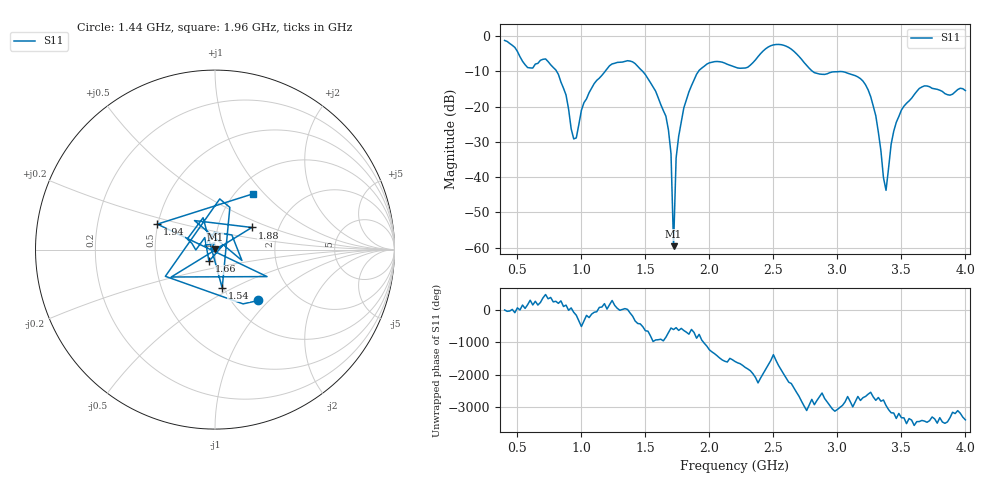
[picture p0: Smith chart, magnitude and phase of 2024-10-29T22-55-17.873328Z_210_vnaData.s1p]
!Created with skrf (http://scikit-rf.org).
# Hz S RI R 50.0
!freq ReS11 ImS11
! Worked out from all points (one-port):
!   181 points, 400 MHz to 4 GHz, reference 50 ohm
!   lowest |S11| = -59.6 dB at 1.72 GHz (marker M1), VSWR 1.00, Z = 49.9 + j0.0888 ohm
!   |S11| at or under -10 dB: 806.4 MHz to 1.186 GHz (379.1 MHz wide, 38.1 % of centre); 1.478 GHz to 1.915 GHz (436.6 MHz wide, 25.7 % of centre); 2.806 GHz to end of sweep
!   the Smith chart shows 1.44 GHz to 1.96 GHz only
!   S11 on the Smith chart (normalised r, x): 1.44 GHz: 1.31, -0.86; 1.54 GHz: 0.98, -0.44; 1.66 GHz: 0.93, -0.12; 1.88 GHz: 1.46, +0.38; 1.94 GHz: 0.50, +0.16; 1.96 GHz: 1.19, +0.86
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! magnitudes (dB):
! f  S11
! 400 MHz  -1.2
! 580 MHz  -8.9
! 720 MHz  -6.5
! 860 MHz  -14.8
! 960 MHz  -28.9
! 1 GHz  -21.1
! 1.1 GHz  -13.5
! 1.3 GHz  -7.4
! 1.44 GHz  -8.6
! 1.54 GHz  -13.2
! 1.66 GHz  -22.7
! 1.7 GHz  -33.4
! 1.72 GHz  -59.6
! 1.74 GHz  -34.6
! 1.76 GHz  -28.4
! 1.88 GHz  -12.4
! 1.94 GHz  -9.1
! 1.96 GHz  -8.5
! 2.2 GHz  -8.8
! 2.66 GHz  -4.3
! 2.82 GHz  -10.4
! 3.1 GHz  -10.8
! 3.26 GHz  -17.2
! 3.38 GHz  -43.8
! 3.44 GHz  -27.0
! 3.56 GHz  -18.4
! 3.68 GHz  -14.1
! 4 GHz  -15.5
